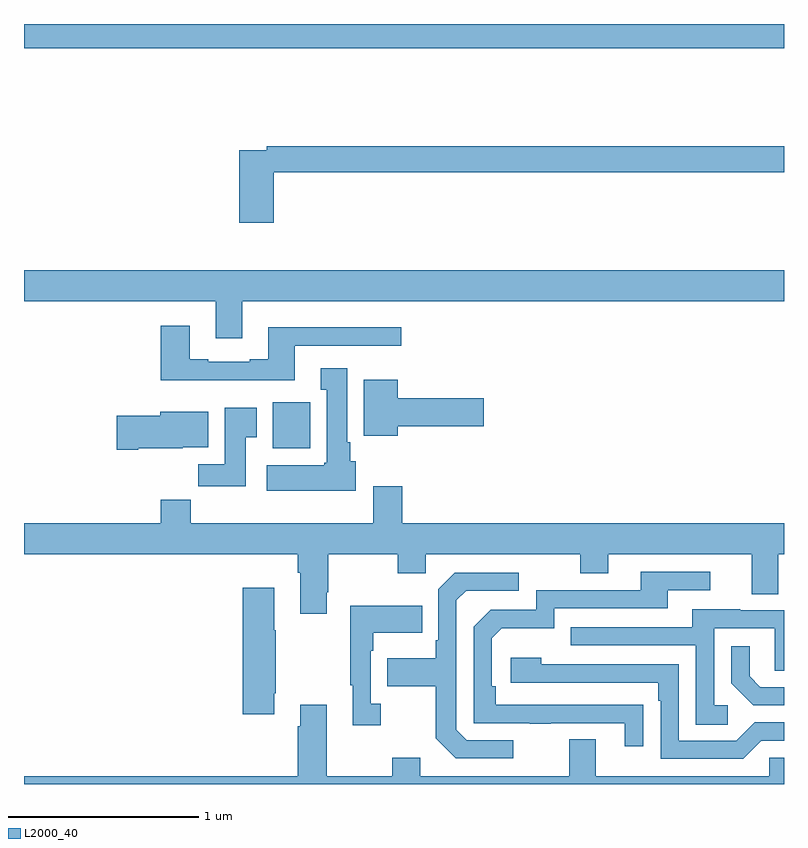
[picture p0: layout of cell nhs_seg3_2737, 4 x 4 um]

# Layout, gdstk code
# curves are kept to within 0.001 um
import gdstk
lib = gdstk.Library(unit=1e-6, precision=1e-09)
def R(c, l, rs):  # rectangles x0, y0, x1, y1
    for r in rs: c.add(gdstk.rectangle(r[:2], r[2:], *l))
def P(c, l, *ps):  # polygons
    for p in ps: c.add(gdstk.Polygon(p, *l))
L2000_40 = (2000, 40)

nhs_seg3_2737 = lib.new_cell('nhs_seg3_2737')
R(nhs_seg3_2737, L2000_40, [(254.309,676.166,254.506,676.408), (253,678.272,257,678.4)])
P(nhs_seg3_2737, L2000_40, [(254.315,677.62),(257,677.62),(257,677.756),(254.278,677.756),(254.278,677.736),(254.132,677.736),(254.132,677.355),(254.315,677.355)],
  [(254.149,676.94),(257,676.94),(257,677.104),(253,677.104),(253,676.94),(254.009,676.94),(254.009,676.746),(254.149,676.746)],
  [(254.425,676.707),(254.986,676.707),(254.986,676.804),(254.285,676.804),(254.285,676.636),(254.189,676.636),(254.189,676.623),(253.969,676.623),(253.969,676.636),(253.873,676.636),(253.873,676.813),(253.721,676.813),(253.721,676.526),(254.425,676.526)],
  [(254.746,676.098),(254.716,676.098),(254.716,676.198),(254.701,676.198),(254.701,676.588),(254.561,676.588),(254.561,676.475),(254.594,676.475),(254.594,676.092),(254.581,676.092),(254.581,676.078),(254.277,676.078),(254.277,675.944),(254.746,675.944)],
  [(254.968,676.283),(255.421,676.283),(255.421,676.43),(254.968,676.43),(254.968,676.528),(254.789,676.528),(254.789,676.232),(254.968,676.232)],
  [(254.167,676.225),(254.224,676.225),(254.224,676.381),(254.057,676.381),(254.057,676.084),(253.918,676.084),(253.918,675.966),(254.167,675.966)],
  [(253.6,676.166),(253.836,676.166),(253.836,676.172),(253.969,676.172),(253.969,676.36),(253.718,676.36),(253.718,676.337),(253.488,676.337),(253.488,676.159),(253.6,676.159)],
  [(254.593,675.409),(254.601,675.409),(254.601,675.608),(254.968,675.608),(254.968,675.509),(255.114,675.509),(255.114,675.608),(255.928,675.608),(255.928,675.509),(256.075,675.509),(256.075,675.608),(256.829,675.608),(256.829,675.4),(256.969,675.4),(256.969,675.608),(257,675.608),(257,675.772),(254.99,675.772),(254.99,675.967),(254.837,675.967),(254.837,675.772),(253.877,675.772),(253.877,675.896),(253.721,675.896),(253.721,675.772),(253,675.772),(253,675.608),(254.441,675.608),(254.441,675.512),(254.453,675.512),(254.453,675.297),(254.593,675.297)],
  [(256.259,674.816),(255.482,674.817),(255.482,674.914),(255.462,674.914),(255.462,675.168),(255.515,675.221),(255.792,675.221),(255.792,675.324),(256.387,675.324),(256.387,675.42),(256.612,675.42),(256.612,675.516),(256.247,675.516),(256.247,675.42),(255.696,675.42),(255.696,675.318),(255.456,675.318),(255.366,675.228),(255.366,674.721),(255.661,674.721),(255.661,674.716),(255.773,674.716),(255.773,674.721),(256.163,674.721),(256.163,674.598),(256.259,674.598)],
  [(255.574,674.631),(255.33,674.631),(255.276,674.685),(255.276,675.366),(255.327,675.417),(255.604,675.417),(255.604,675.513),(255.267,675.513),(255.18,675.426),(255.18,675.157),(255.168,675.157),(255.168,675.061),(254.911,675.061),(254.911,674.914),(255.168,674.914),(255.168,674.641),(255.273,674.535),(255.574,674.535)],
  [(254.317,674.878),(254.325,674.878),(254.325,675.209),(254.317,675.209),(254.317,675.433),(254.15,675.433),(254.15,674.766),(254.317,674.766)],
  [(254.878,674.822),(254.826,674.822),(254.826,675.101),(254.839,675.101),(254.839,675.197),(255.095,675.197),(255.095,675.337),(254.718,675.337),(254.718,674.921),(254.729,674.921),(254.729,674.709),(254.878,674.709)],
  [(256.705,674.814),(256.632,674.814),(256.632,675.219),(256.95,675.219),(256.95,674.995),(257,674.995),(257,675.315),(256.771,675.315),(256.771,675.319),(256.517,675.319),(256.517,675.225),(255.877,675.225),(255.877,675.129),(256.536,675.129),(256.536,674.713),(256.705,674.713)],
  [(257,674.91),(256.876,674.91),(256.819,674.967),(256.819,675.124),(256.722,675.124),(256.722,674.93),(256.838,674.814),(257,674.814)],
  [(256.881,674.628),(257,674.628),(257,674.724),(256.845,674.724),(256.749,674.628),(256.446,674.628),(256.446,675.03),(255.722,675.03),(255.722,675.064),(255.561,675.064),(255.561,674.934),(256.337,674.934),(256.337,674.837),(256.35,674.837),(256.35,674.532),(256.785,674.532)],
  [(257,674.538),(256.923,674.538),(256.923,674.44),(256.009,674.44),(256.009,674.635),(255.869,674.635),(255.869,674.44),(255.085,674.44),(255.085,674.539),(254.938,674.539),(254.938,674.44),(254.593,674.44),(254.593,674.818),(254.453,674.818),(254.453,674.705),(254.441,674.705),(254.441,674.44),(253,674.44),(253,674.4),(257,674.4)])

lib.write_gds('nhs_seg3_2737.gds')
